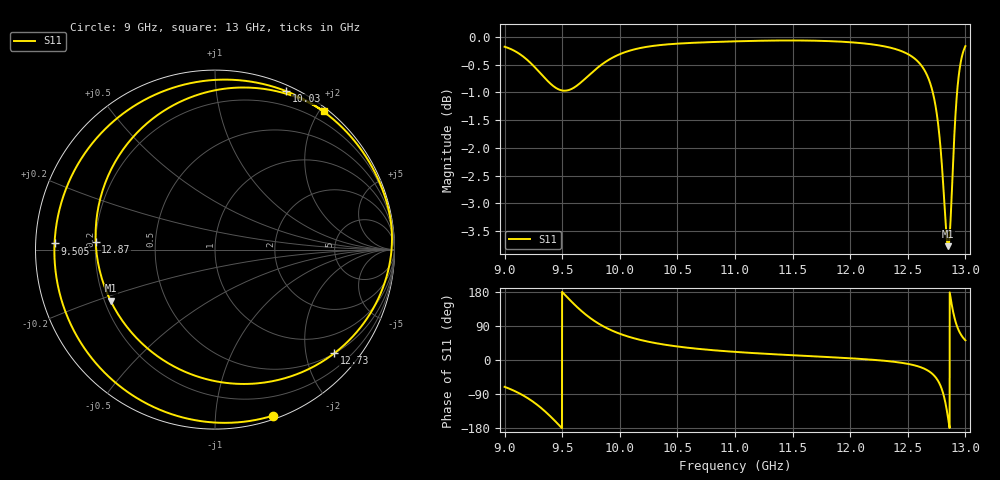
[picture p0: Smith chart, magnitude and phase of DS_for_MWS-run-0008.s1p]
! TOUCHSTONE file generated by CST DESIGN STUDIO
! Date and time: Tue Feb  4 16:27:49 2025
! Project name: C:\Work\MatlabApps\UnitCellOptimizationMatlab\CST\unitcell.cst
! Tree item: Tasks\Sweep1\SPara1\S-Parameters
! Header version: 2024
! Port assignment regex: !\s*Touchstone port\s*([0-9]+)\s*=\s*(CST MWS port|CST DES external port|CST DES block port)\s*(.+)\s* \(\"(.*)\"\)(\s*mode\s*([0-9]+))?.*
! Touchstone port assignment:
! Touchstone port 1 = CST DES external port 1 ("")
# GHz S MA R 50
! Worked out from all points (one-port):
!   4001 points, 9 GHz to 13 GHz, reference 50 ohm
!   lowest |S11| = -3.8 dB at 12.85 GHz (marker M1), VSWR 4.68, Z = 11.2 - j11 ohm
!   |S11| at or under -10 dB: nowhere
!   S11 on the Smith chart (normalised r, x): 9 GHz: 0.03, -1.41; 9.505 GHz: 0.06, +0.02; 10.03 GHz: 0.06, +1.54; 12.73 GHz: 0.50, -2.59; 12.87 GHz: 0.20, +0.03; 13 GHz: 0.05, +2.05
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9  0.9798 -70.8
9.158  0.9606 -92.9
9.274  0.9363 -116.1
9.404  0.9064 -150.7
9.5  0.8948 179.4
9.505  0.8946 177.8
9.623  0.9031 141.5
9.725  0.9222 114.9
9.841  0.944 91.6
10  0.9648 69.3
10.032  0.9677 65.8
10.235  0.9796 49.1
10.5  0.9861 35.7
11  0.9908 21.4
11.5  0.9926 12.6
12  0.989 4.5
12.5  0.9651 -10.2
12.644  0.9336 -23.0
12.728  0.8808 -40.9
12.77  0.8231 -59.1
12.806  0.7399 -87.2
12.828  0.6797 -115.3
12.85  0.6479 -154.0
12.865  0.6659 176.5
12.894  0.7746 126.4
12.918  0.8639 97.6
12.959  0.9482 68.2
13  0.981 52.0
